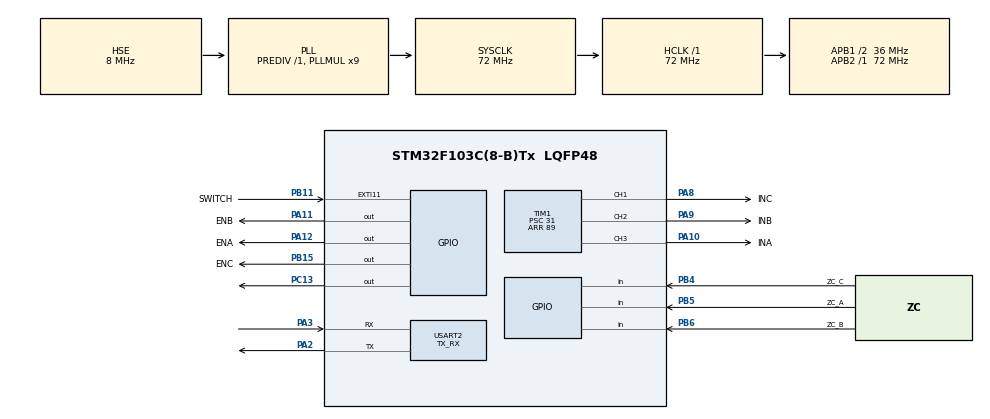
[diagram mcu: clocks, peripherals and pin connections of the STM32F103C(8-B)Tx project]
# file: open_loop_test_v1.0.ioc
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Dma.Request0=USART2_TX
Dma.USART2_TX.0.Direction=DMA_MEMORY_TO_PERIPH
Dma.USART2_TX.0.Instance=DMA1_Channel7
Dma.USART2_TX.0.MemDataAlignment=DMA_MDATAALIGN_BYTE
Dma.USART2_TX.0.MemInc=DMA_MINC_ENABLE
Dma.USART2_TX.0.Mode=DMA_NORMAL
Dma.USART2_TX.0.PeriphDataAlignment=DMA_PDATAALIGN_BYTE
Dma.USART2_TX.0.PeriphInc=DMA_PINC_DISABLE
Dma.USART2_TX.0.Priority=DMA_PRIORITY_LOW
Mcu.Family=STM32F1
Mcu.Name=STM32F103C(8-B)Tx
Mcu.Package=LQFP48
NVIC.DMA1_Channel7_IRQn=true\:0\:0\:false\:false\:true\:false\:true\:true
NVIC.EXTI15_10_IRQn=true\:0\:0\:false\:false\:true\:true\:true\:true
NVIC.PriorityGroup=NVIC_PRIORITYGROUP_4
NVIC.RCC_IRQn=true\:0\:0\:false\:false\:true\:true\:false\:true
NVIC.TIM1_BRK_IRQn=true\:0\:0\:true\:false\:true\:true\:true\:true
NVIC.TIM1_CC_IRQn=true\:0\:0\:true\:false\:true\:true\:true\:true
NVIC.TIM1_TRG_COM_IRQn=true\:0\:0\:true\:false\:true\:true\:true\:true
NVIC.TIM1_UP_IRQn=true\:0\:0\:true\:false\:true\:true\:true\:true
NVIC.TIM2_IRQn=true\:0\:0\:true\:false\:true\:true\:true\:true
NVIC.TIM3_IRQn=true\:0\:0\:true\:false\:true\:true\:true\:true
NVIC.USART2_IRQn=true\:1\:0\:true\:false\:true\:true\:true\:true
PA10.GPIO_Label=INA
PA10.Signal=S_TIM1_CH3
PA11.GPIO_Label=ENB
PA11.GPIO_Speed=GPIO_SPEED_FREQ_HIGH
PA11.Signal=GPIO_Output
PA12.GPIO_Label=ENA
PA12.GPIO_Speed=GPIO_SPEED_FREQ_HIGH
PA12.Signal=GPIO_Output
PA13.Mode=Serial_Wire
PA13.Signal=SYS_JTMS-SWDIO
PA14.Mode=Serial_Wire
PA14.Signal=SYS_JTCK-SWCLK
PA2.Mode=Asynchronous
PA2.Signal=USART2_TX
PA3.Mode=Asynchronous
PA3.Signal=USART2_RX
PA8.GPIO_Label=INC
PA8.Signal=S_TIM1_CH1
PA9.GPIO_Label=INB
PA9.Signal=S_TIM1_CH2
PB11.GPIO_Label=SWITCH
PB11.GPIO_PuPd=GPIO_PULLUP
PB11.Signal=GPXTI11
PB15.GPIO_Label=ENC
PB15.GPIO_Speed=GPIO_SPEED_FREQ_HIGH
PB15.Signal=GPIO_Output
PB4.GPIO_Label=ZC_C
PB4.GPIO_PuPd=GPIO_PULLUP
PB4.Signal=GPIO_Input
PB5.GPIO_Label=ZC_A
PB5.GPIO_PuPd=GPIO_PULLUP
PB5.Signal=GPIO_Input
PB6.GPIO_Label=ZC_B
PB6.GPIO_PuPd=GPIO_PULLUP
PB6.Signal=GPIO_Input
PC13-TAMPER-RTC.Signal=GPIO_Output
PD0-OSC_IN.Mode=HSE-External-Oscillator
PD0-OSC_IN.Signal=RCC_OSC_IN
PD1-OSC_OUT.Mode=HSE-External-Oscillator
PD1-OSC_OUT.Signal=RCC_OSC_OUT
ProjectManager.HeapSize=0x200
ProjectManager.StackSize=0x400
ProjectManager.TargetToolchain=STM32CubeIDE
RCC.AHBFreq_Value=72000000
RCC.APB1CLKDivider=RCC_HCLK_DIV2
RCC.APB1Freq_Value=36000000
RCC.APB1TimFreq_Value=72000000
RCC.APB2Freq_Value=72000000
RCC.APB2TimFreq_Value=72000000
RCC.HCLKFreq_Value=72000000
RCC.PLLMUL=RCC_PLL_MUL9
RCC.PLLSourceVirtual=RCC_PLLSOURCE_HSE
RCC.SYSCLKFreq_VALUE=72000000
RCC.SYSCLKSource=RCC_SYSCLKSOURCE_PLLCLK
RCC.USBFreq_Value=72000000
SH.S_TIM1_CH1.0=TIM1_CH1,PWM Generation1 CH1
SH.S_TIM1_CH2.0=TIM1_CH2,PWM Generation2 CH2
SH.S_TIM1_CH3.0=TIM1_CH3,PWM Generation3 CH3
TIM1.AutoReloadPreload=TIM_AUTORELOAD_PRELOAD_ENABLE
TIM1.Channel-PWM\ Generation1\ CH1=TIM_CHANNEL_1
TIM1.Channel-PWM\ Generation2\ CH2=TIM_CHANNEL_2
TIM1.Channel-PWM\ Generation3\ CH3=TIM_CHANNEL_3
TIM1.CounterMode=TIM_COUNTERMODE_CENTERALIGNED1
TIM1.Period=89
TIM1.Prescaler=31
TIM2.Period=1000-1
TIM2.Prescaler=7200-1
TIM3.Period=999
TIM3.Prescaler=7199
USART2.Mode=MODE_TX_RX
USART2.VirtualMode=VM_ASYNC
VP_TIM2_VS_ClockSourceINT.Mode=Internal
VP_TIM3_VS_ClockSourceINT.Mode=Internal
board=custom

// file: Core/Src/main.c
/* USER CODE BEGIN Header */
/**
  ******************************************************************************
  * @file           : main.c
  * @brief          : Main program body
  ******************************************************************************
  * @attention
  *
  * Copyright (c) 2025 STMicroelectronics.
  * All rights reserved.
  *
  * This software is licensed under terms that can be found in the LICENSE file
  * in the root directory of this software component.
  * If no LICENSE file comes with this software, it is provided AS-IS.
  *
  ******************************************************************************
  */
/* USER CODE END Header */
#include "main.h"

/* USER CODE BEGIN Includes */
#include <stdio.h>
#include <string.h>
#include "config_datos.h"
/* USER CODE END Includes */

/* USER CODE BEGIN PD */
void alignment(void);
void startupRamp(void);
void commutationCycle(uint8_t step, uint8_t pmwValue);
typedef struct {
    char *command;               // Texto del comando
    void (*execute)();           // Puntero a la función
} Command;
Command commandTable[] = {
    {"ALIGN", alignment},
    {"STARTUP", startupRamp},

    {NULL, NULL}  // Marca el final de la tabla
};
/* USER CODE END PD */

TIM_HandleTypeDef htim1;
TIM_HandleTypeDef htim2;
TIM_HandleTypeDef htim3;

UART_HandleTypeDef huart2;
DMA_HandleTypeDef hdma_usart2_tx;

/* USER CODE BEGIN PV */
#define BUFFER_SIZE 30
uint8_t rx_data[1];
uint8_t rx_buffer[BUFFER_SIZE];
uint8_t rx_index = 0;

uint16_t PWM_ARR;
uint16_t pwm_VAL;
volatile uint32_t timer_counter = 0;

float current_time;
float omega, T_comm;
uint8_t pwm_val;
/* USER CODE END PV */

void SystemClock_Config(void);
static void MX_GPIO_Init(void);
static void MX_DMA_Init(void);
static void MX_TIM1_Init(void);
static void MX_TIM2_Init(void);
static void MX_TIM3_Init(void);
static void MX_USART2_UART_Init(void);

/* USER CODE BEGIN 0 */
void HAL_TIM_PeriodElapsedCallback(TIM_HandleTypeDef *htim) {
	if (htim->Instance == TIM2) {
		timer_counter++;
	}
}

void delay(uint32_t delay_ms){
	uint32_t start_time = timer_counter;
	while(timer_counter - start_time < delay_ms);

}
void processCommand(char *input) {
    for (int i = 0; commandTable[i].command != NULL; i++) {
        if (strcmp(input, commandTable[i].command) == 0) {  // Compara el comando recibido
            commandTable[i].execute();  // Ejecuta la función asociada
            return;
        }
    }
    // Si no se encuentra el comando
    HAL_UART_Transmit(&huart2, (uint8_t *)"Unknown Command\r\n", 17, 3);
}

void clearRxBuffer(void) {
    memset(rx_buffer, 0, BUFFER_SIZE);  // Establece todos los elementos a 0
    rx_index = 0;                          // Reinicia el índice del buffer
}

void startupRamp(void){
	HAL_UART_Transmit(&huart2, (uint8_t *)"Starting...\r\n", 13, 3);
	current_time = 0.0f;

	uint8_t step = 1;

	while(current_time <= STARTUP_TIME){
		omega = (VEL_INICIAL + ALPHA*current_time)*2*PI;

		T_comm = (2 * PI / (PARES_POLOS * omega))*1000.0f;
		pwm_val= (DUTY_MIN + DUTY_SLOPE * current_time)*PWM_ARR/100;
		step = (step % 6) + 1;
		commutationCycle(step, pwm_val);
		current_time += T_comm;

	}
}

void alignment(void) {
	__HAL_UART_DISABLE_IT(&huart2, UART_IT_RXNE);  // Deshabilita interrupciones por recepción
	__HAL_UART_DISABLE_IT(&huart2, UART_IT_TXE);   // Deshabilita interrupciones por transmisión

	pwm_VAL = (uint8_t)((DUTY_ALIGN / 100.0f) * PWM_ARR);
	HAL_UART_Transmit(&huart2, (uint8_t *)"Aligning...\r\n", 13, 3);
	uint8_t step = 1;
	commutationCycle(step, 70);
	for (unsigned int k = 0; k < 10; k++){
		HAL_GPIO_TogglePin(GPIOC, GPIO_PIN_13);
		for (unsigned int i = 0; i < 10000; i++) {

		}
	}
	step = 7;
	commutationCycle(step, 0);
	__HAL_UART_ENABLE_IT(&huart2, UART_IT_RXNE);  // Habilita interrupciones por recepción
	__HAL_UART_ENABLE_IT(&huart2, UART_IT_TXE);   // Habilita interrupciones por transmisión
}
void commutationCycle(uint8_t step, uint8_t pwmValue){

	switch(step){
	case 1: //A+ B- C0
		HAL_GPIO_WritePin(GPIOA, ENA_Pin, GPIO_PIN_SET);
		HAL_GPIO_WritePin(GPIOA, ENB_Pin, GPIO_PIN_SET);
		HAL_GPIO_WritePin(GPIOB, ENC_Pin, GPIO_PIN_RESET);
		__HAL_TIM_SET_COMPARE(&htim1, TIM_CHANNEL_3, pwmValue);
		__HAL_TIM_SET_COMPARE(&htim1, TIM_CHANNEL_2, 0);
		break;
    case 2: //A+ B0 C-
        HAL_GPIO_WritePin(GPIOA, ENA_Pin, GPIO_PIN_SET);
		HAL_GPIO_WritePin(GPIOA, ENB_Pin, GPIO_PIN_RESET);
		HAL_GPIO_WritePin(GPIOB, ENC_Pin, GPIO_PIN_SET);
		__HAL_TIM_SET_COMPARE(&htim1, TIM_CHANNEL_3, pwmValue);
		__HAL_TIM_SET_COMPARE(&htim1, TIM_CHANNEL_1, 0);
		break;
	case 3: //A0 B+ C-
		HAL_GPIO_WritePin(GPIOA, ENA_Pin, GPIO_PIN_RESET);
		HAL_GPIO_WritePin(GPIOA, ENB_Pin, GPIO_PIN_SET);
		HAL_GPIO_WritePin(GPIOB, ENC_Pin, GPIO_PIN_SET);
		__HAL_TIM_SET_COMPARE(&htim1, TIM_CHANNEL_2, pwmValue);
		__HAL_TIM_SET_COMPARE(&htim1, TIM_CHANNEL_1, 0);
		break;
	case 4: //A- B+ C0
		HAL_GPIO_WritePin(GPIOA, ENA_Pin, GPIO_PIN_SET);
		HAL_GPIO_WritePin(GPIOA, ENB_Pin, GPIO_PIN_SET);
		HAL_GPIO_WritePin(GPIOB, ENC_Pin, GPIO_PIN_RESET);
		__HAL_TIM_SET_COMPARE(&htim1, TIM_CHANNEL_2, pwmValue);
		__HAL_TIM_SET_COMPARE(&htim1, TIM_CHANNEL_3, 0);
		break;
	case 5: //A- B0 C+
		HAL_GPIO_WritePin(GPIOA, ENA_Pin, GPIO_PIN_SET);
		HAL_GPIO_WritePin(GPIOA, ENB_Pin, GPIO_PIN_RESET);
		HAL_GPIO_WritePin(GPIOB, ENC_Pin, GPIO_PIN_SET);
		__HAL_TIM_SET_COMPARE(&htim1, TIM_CHANNEL_1, pwmValue);
		__HAL_TIM_SET_COMPARE(&htim1, TIM_CHANNEL_3, 0);
		break;
	case 6: //A0 B- C+
		HAL_GPIO_WritePin(GPIOA, ENA_Pin, GPIO_PIN_RESET);
		HAL_GPIO_WritePin(GPIOA, ENB_Pin, GPIO_PIN_SET);
		HAL_GPIO_WritePin(GPIOB, ENC_Pin, GPIO_PIN_SET);
		__HAL_TIM_SET_COMPARE(&htim1, TIM_CHANNEL_1, pwmValue);
		__HAL_TIM_SET_COMPARE(&htim1, TIM_CHANNEL_2, 0);
		break;
	case 7: //ALL FLOATING
		HAL_GPIO_WritePin(GPIOA, ENA_Pin, GPIO_PIN_RESET);
		HAL_GPIO_WritePin(GPIOA, ENB_Pin, GPIO_PIN_RESET);
		HAL_GPIO_WritePin(GPIOB, ENC_Pin, GPIO_PIN_RESET);
		__HAL_TIM_SET_COMPARE(&htim1, TIM_CHANNEL_1, 0);
		__HAL_TIM_SET_COMPARE(&htim1, TIM_CHANNEL_2, 0);
		__HAL_TIM_SET_COMPARE(&htim1, TIM_CHANNEL_3, 0);
		break;
	}

}
void HAL_UART_RxCpltCallback(UART_HandleTypeDef *huart) {
    if (huart->Instance == USART2) {  // Verifica el UART correcto
        if (rx_data[0] == '\r') {  // Detecta el carácter de fin de línea
            rx_buffer[rx_index] = '\0';  // Finaliza la cadena con terminador nulo
            rx_index = 0;  // Reinicia el índice para el próximo mensaje

            // Procesa el mensaje completo
            HAL_UART_Transmit(&huart2, (uint8_t *)"\r\nReceived: ", 12, 3);
            HAL_UART_Transmit(&huart2, rx_buffer, strlen((char *)rx_buffer), 3);
            HAL_UART_Transmit(&huart2, (uint8_t *)"\r\n", 2, HAL_MAX_DELAY);
            processCommand((char *)rx_buffer);  // Procesa el comando recibido
            clearRxBuffer();  // Limpia el buffer acumulador
        } else if (rx_data[0] == '\b' || rx_data[0] == '\177') {  // Detecta Backspace
            if (rx_index > 0) {  // Si hay algo en el buffer
                rx_index--;  // Retrocede el índice
                // Simula el borrado en el terminal
                HAL_UART_Transmit(&huart2, (uint8_t *)"\b \b", 3, 3);
            }
        } else {  // Cualquier otro carácter
            rx_buffer[rx_index++] = rx_data[0];  // Almacena el carácter en el buffer
            HAL_UART_Transmit(&huart2, rx_data, 1, HAL_MAX_DELAY);  // Eco del carácter recibido

            // Evita desbordamientos
            if (rx_index >= BUFFER_SIZE) {
                HAL_UART_Transmit(&huart2, (uint8_t *)"\r\nBuffer Overflow\r\n", 19, 3);
                rx_index = 0;  // Reinicia el índice en caso de desbordamiento
            }
        }

        // Reinicia la recepción para el siguiente byte
        HAL_UART_Receive_IT(&huart2, rx_data, 1);
    }
}
/* USER CODE END 0 */

int main(void)
{

  /* MCU Configuration--------------------------------------------------------*/

  /* Reset of all peripherals, Initializes the Flash interface and the Systick. */
  HAL_Init();

  /* Configure the system clock */
  SystemClock_Config();

  /* Initialize all configured peripherals */
  MX_GPIO_Init();
  MX_DMA_Init();
  MX_TIM1_Init();
  MX_TIM2_Init();
  MX_TIM3_Init();
  MX_USART2_UART_Init();
  /* USER CODE BEGIN 2 */
  HAL_UART_Receive_IT(&huart2, rx_data, 1);
  PWM_ARR = TIM1->ARR; // obtiene el valor actual del ARR del timer PWM
  HAL_TIM_Base_Start_IT(&htim2);
  /* USER CODE END 2 */

  /* Infinite loop */
  while (1)
  {

    /* USER CODE BEGIN 3 */
	  //HAL_GPIO_TogglePin(GPIOC, GPIO_PIN_13);
	  //HAL_Delay(100);
  }
  /* USER CODE END 3 */
}

void SystemClock_Config(void)
{
  RCC_OscInitTypeDef RCC_OscInitStruct = {0};
  RCC_ClkInitTypeDef RCC_ClkInitStruct = {0};

  /** Initializes the RCC Oscillators according to the specified parameters
  * in the RCC_OscInitTypeDef structure.
  */
  RCC_OscInitStruct.OscillatorType = RCC_OSCILLATORTYPE_HSE;
  RCC_OscInitStruct.HSEState = RCC_HSE_ON;
  RCC_OscInitStruct.HSEPredivValue = RCC_HSE_PREDIV_DIV1;
  RCC_OscInitStruct.HSIState = RCC_HSI_ON;
  RCC_OscInitStruct.PLL.PLLState = RCC_PLL_ON;
  RCC_OscInitStruct.PLL.PLLSource = RCC_PLLSOURCE_HSE;
  RCC_OscInitStruct.PLL.PLLMUL = RCC_PLL_MUL9;
  if (HAL_RCC_OscConfig(&RCC_OscInitStruct) != HAL_OK)
  {
    Error_Handler();
  }

  /** Initializes the CPU, AHB and APB buses clocks
  */
  RCC_ClkInitStruct.ClockType = RCC_CLOCKTYPE_HCLK|RCC_CLOCKTYPE_SYSCLK
                              |RCC_CLOCKTYPE_PCLK1|RCC_CLOCKTYPE_PCLK2;
  RCC_ClkInitStruct.SYSCLKSource = RCC_SYSCLKSOURCE_PLLCLK;
  RCC_ClkInitStruct.AHBCLKDivider = RCC_SYSCLK_DIV1;
  RCC_ClkInitStruct.APB1CLKDivider = RCC_HCLK_DIV2;
  RCC_ClkInitStruct.APB2CLKDivider = RCC_HCLK_DIV1;

  if (HAL_RCC_ClockConfig(&RCC_ClkInitStruct, FLASH_LATENCY_2) != HAL_OK)
  {
    Error_Handler();
  }
}

static void MX_TIM1_Init(void)
{

  TIM_MasterConfigTypeDef sMasterConfig = {0};
  TIM_OC_InitTypeDef sConfigOC = {0};
  TIM_BreakDeadTimeConfigTypeDef sBreakDeadTimeConfig = {0};

  htim1.Instance = TIM1;
  htim1.Init.Prescaler = 31;
  htim1.Init.CounterMode = TIM_COUNTERMODE_CENTERALIGNED1;
  htim1.Init.Period = 89;
  htim1.Init.ClockDivision = TIM_CLOCKDIVISION_DIV1;
  htim1.Init.RepetitionCounter = 0;
  htim1.Init.AutoReloadPreload = TIM_AUTORELOAD_PRELOAD_ENABLE;
  if (HAL_TIM_PWM_Init(&htim1) != HAL_OK)
  {
    Error_Handler();
  }
  sMasterConfig.MasterOutputTrigger = TIM_TRGO_RESET;
  sMasterConfig.MasterSlaveMode = TIM_MASTERSLAVEMODE_DISABLE;
  if (HAL_TIMEx_MasterConfigSynchronization(&htim1, &sMasterConfig) != HAL_OK)
  {
    Error_Handler();
  }
  sConfigOC.OCMode = TIM_OCMODE_PWM1;
  sConfigOC.Pulse = 0;
  sConfigOC.OCPolarity = TIM_OCPOLARITY_HIGH;
  sConfigOC.OCNPolarity = TIM_OCNPOLARITY_HIGH;
  sConfigOC.OCFastMode = TIM_OCFAST_DISABLE;
  sConfigOC.OCIdleState = TIM_OCIDLESTATE_RESET;
  sConfigOC.OCNIdleState = TIM_OCNIDLESTATE_RESET;
  if (HAL_TIM_PWM_ConfigChannel(&htim1, &sConfigOC, TIM_CHANNEL_1) != HAL_OK)
  {
    Error_Handler();
  }
  if (HAL_TIM_PWM_ConfigChannel(&htim1, &sConfigOC, TIM_CHANNEL_2) != HAL_OK)
  {
    Error_Handler();
  }
  if (HAL_TIM_PWM_ConfigChannel(&htim1, &sConfigOC, TIM_CHANNEL_3) != HAL_OK)
  {
    Error_Handler();
  }
  sBreakDeadTimeConfig.OffStateRunMode = TIM_OSSR_DISABLE;
  sBreakDeadTimeConfig.OffStateIDLEMode = TIM_OSSI_DISABLE;
  sBreakDeadTimeConfig.LockLevel = TIM_LOCKLEVEL_OFF;
  sBreakDeadTimeConfig.DeadTime = 0;
  sBreakDeadTimeConfig.BreakState = TIM_BREAK_DISABLE;
  sBreakDeadTimeConfig.BreakPolarity = TIM_BREAKPOLARITY_HIGH;
  sBreakDeadTimeConfig.AutomaticOutput = TIM_AUTOMATICOUTPUT_DISABLE;
  if (HAL_TIMEx_ConfigBreakDeadTime(&htim1, &sBreakDeadTimeConfig) != HAL_OK)
  {
    Error_Handler();
  }
  HAL_TIM_MspPostInit(&htim1);

}

static void MX_TIM2_Init(void)
{

  TIM_ClockConfigTypeDef sClockSourceConfig = {0};
  TIM_MasterConfigTypeDef sMasterConfig = {0};

  htim2.Instance = TIM2;
  htim2.Init.Prescaler = 7200-1;
  htim2.Init.CounterMode = TIM_COUNTERMODE_UP;
  htim2.Init.Period = 1000-1;
  htim2.Init.ClockDivision = TIM_CLOCKDIVISION_DIV1;
  htim2.Init.AutoReloadPreload = TIM_AUTORELOAD_PRELOAD_DISABLE;
  if (HAL_TIM_Base_Init(&htim2) != HAL_OK)
  {
    Error_Handler();
  }
  sClockSourceConfig.ClockSource = TIM_CLOCKSOURCE_INTERNAL;
  if (HAL_TIM_ConfigClockSource(&htim2, &sClockSourceConfig) != HAL_OK)
  {
    Error_Handler();
  }
  sMasterConfig.MasterOutputTrigger = TIM_TRGO_RESET;
  sMasterConfig.MasterSlaveMode = TIM_MASTERSLAVEMODE_DISABLE;
  if (HAL_TIMEx_MasterConfigSynchronization(&htim2, &sMasterConfig) != HAL_OK)
  {
    Error_Handler();
  }

}

static void MX_TIM3_Init(void)
{

  TIM_ClockConfigTypeDef sClockSourceConfig = {0};
  TIM_MasterConfigTypeDef sMasterConfig = {0};

  htim3.Instance = TIM3;
  htim3.Init.Prescaler = 7199;
  htim3.Init.CounterMode = TIM_COUNTERMODE_UP;
  htim3.Init.Period = 999;
  htim3.Init.ClockDivision = TIM_CLOCKDIVISION_DIV1;
  htim3.Init.AutoReloadPreload = TIM_AUTORELOAD_PRELOAD_DISABLE;
  if (HAL_TIM_Base_Init(&htim3) != HAL_OK)
  {
    Error_Handler();
  }
  sClockSourceConfig.ClockSource = TIM_CLOCKSOURCE_INTERNAL;
  if (HAL_TIM_ConfigClockSource(&htim3, &sClockSourceConfig) != HAL_OK)
  {
    Error_Handler();
  }
  sMasterConfig.MasterOutputTrigger = TIM_TRGO_RESET;
  sMasterConfig.MasterSlaveMode = TIM_MASTERSLAVEMODE_DISABLE;
  if (HAL_TIMEx_MasterConfigSynchronization(&htim3, &sMasterConfig) != HAL_OK)
  {
    Error_Handler();
  }

}

static void MX_USART2_UART_Init(void)
{

  huart2.Instance = USART2;
  huart2.Init.BaudRate = 115200;
  huart2.Init.WordLength = UART_WORDLENGTH_8B;
  huart2.Init.StopBits = UART_STOPBITS_1;
  huart2.Init.Parity = UART_PARITY_NONE;
  huart2.Init.Mode = UART_MODE_TX_RX;
  huart2.Init.HwFlowCtl = UART_HWCONTROL_NONE;
  huart2.Init.OverSampling = UART_OVERSAMPLING_16;
  if (HAL_UART_Init(&huart2) != HAL_OK)
  {
    Error_Handler();
  }

}

static void MX_DMA_Init(void)
{

  /* DMA controller clock enable */
  __HAL_RCC_DMA1_CLK_ENABLE();

  /* DMA interrupt init */
  /* DMA1_Channel7_IRQn interrupt configuration */
  HAL_NVIC_SetPriority(DMA1_Channel7_IRQn, 0, 0);
  HAL_NVIC_EnableIRQ(DMA1_Channel7_IRQn);

}

static void MX_GPIO_Init(void)
{
  GPIO_InitTypeDef GPIO_InitStruct = {0};

  /* GPIO Ports Clock Enable */
  __HAL_RCC_GPIOC_CLK_ENABLE();
  __HAL_RCC_GPIOD_CLK_ENABLE();
  __HAL_RCC_GPIOA_CLK_ENABLE();
  __HAL_RCC_GPIOB_CLK_ENABLE();

  /*Configure GPIO pin Output Level */
  HAL_GPIO_WritePin(GPIOC, GPIO_PIN_13, GPIO_PIN_RESET);

  /*Configure GPIO pin Output Level */
  HAL_GPIO_WritePin(ENC_GPIO_Port, ENC_Pin, GPIO_PIN_RESET);

  /*Configure GPIO pin Output Level */
  HAL_GPIO_WritePin(GPIOA, ENB_Pin|ENA_Pin, GPIO_PIN_RESET);

  /*Configure GPIO pin : PC13 */
  GPIO_InitStruct.Pin = GPIO_PIN_13;
  GPIO_InitStruct.Mode = GPIO_MODE_OUTPUT_PP;
  GPIO_InitStruct.Pull = GPIO_NOPULL;
  GPIO_InitStruct.Speed = GPIO_SPEED_FREQ_LOW;
  HAL_GPIO_Init(GPIOC, &GPIO_InitStruct);

  /*Configure GPIO pin : SWITCH_Pin */
  GPIO_InitStruct.Pin = SWITCH_Pin;
  GPIO_InitStruct.Mode = GPIO_MODE_IT_RISING;
  GPIO_InitStruct.Pull = GPIO_PULLUP;
  HAL_GPIO_Init(SWITCH_GPIO_Port, &GPIO_InitStruct);

  /*Configure GPIO pin : ENC_Pin */
  GPIO_InitStruct.Pin = ENC_Pin;
  GPIO_InitStruct.Mode = GPIO_MODE_OUTPUT_PP;
  GPIO_InitStruct.Pull = GPIO_NOPULL;
  GPIO_InitStruct.Speed = GPIO_SPEED_FREQ_HIGH;
  HAL_GPIO_Init(ENC_GPIO_Port, &GPIO_InitStruct);

  /*Configure GPIO pins : ENB_Pin ENA_Pin */
  GPIO_InitStruct.Pin = ENB_Pin|ENA_Pin;
  GPIO_InitStruct.Mode = GPIO_MODE_OUTPUT_PP;
  GPIO_InitStruct.Pull = GPIO_NOPULL;
  GPIO_InitStruct.Speed = GPIO_SPEED_FREQ_HIGH;
  HAL_GPIO_Init(GPIOA, &GPIO_InitStruct);

  /*Configure GPIO pins : ZC_C_Pin ZC_A_Pin ZC_B_Pin */
  GPIO_InitStruct.Pin = ZC_C_Pin|ZC_A_Pin|ZC_B_Pin;
  GPIO_InitStruct.Mode = GPIO_MODE_INPUT;
  GPIO_InitStruct.Pull = GPIO_PULLUP;
  HAL_GPIO_Init(GPIOB, &GPIO_InitStruct);

  /* EXTI interrupt init*/
  HAL_NVIC_SetPriority(EXTI15_10_IRQn, 0, 0);
  HAL_NVIC_EnableIRQ(EXTI15_10_IRQn);

}

void Error_Handler(void)
{
  __disable_irq();
  while (1)
  {
  }
}
